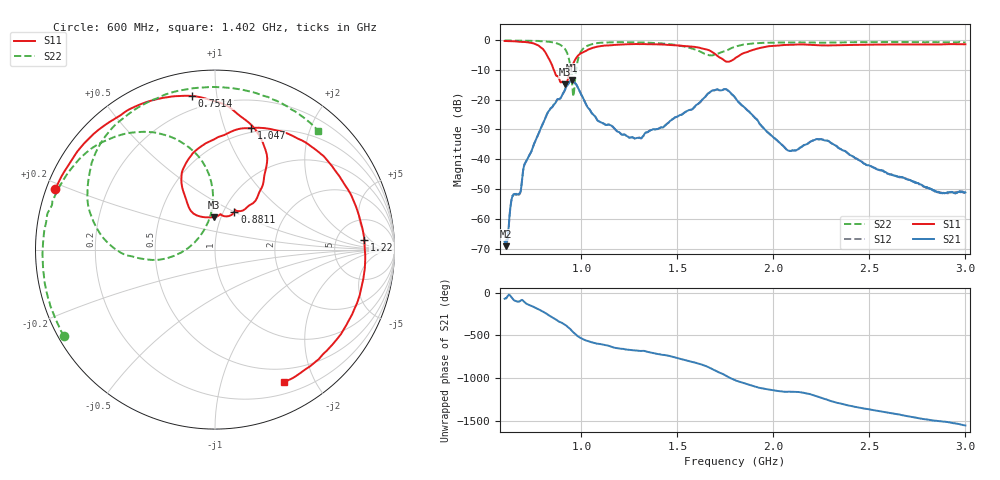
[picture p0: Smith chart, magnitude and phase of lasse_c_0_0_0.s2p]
#  HZ  S  RI  R  50.00
! Rohde & Schwarz ZVB8 2Ports - Version 2.81 - 1145.1010k08 SN: 100113
! Date: 2016-05-04 02:48:57
! Measurements: S11 S21 S12 S22
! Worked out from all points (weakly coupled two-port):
!   1000 points, 600 MHz to 3 GHz, reference 50 ohm
!   highest |S21| = -13.45 dB at 950.8 MHz (marker M1); lowest = -69.0 dB at 607.2 MHz (marker M2)
!   lowest |S11| = -14.9 dB at 912.3 MHz (marker M3), VSWR 1.44, Z = 46.3 + j17.3 ohm
!   |S11| at or under -10 dB: 855.6 MHz to 942.9 MHz (87.28 MHz wide, 9.71 % of centre)
!   |S22| runs from -19.0 to -0.3 dB; largest |S21 - S12| = 0.0019
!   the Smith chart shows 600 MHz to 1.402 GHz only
!   S11 on the Smith chart (normalised r, x): 600 MHz: 0.03, +0.18; 751.4 MHz: 0.13, +0.85; 881.1 MHz: 1.13, +0.50; 1.047 GHz: 0.46, +1.23; 1.22 GHz: 10, +3; 1.402 GHz: 0.33, -1.60
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6e8  -0.8889 0.3377  0.000125 -0.000404  0.000117 -0.000368  -0.8412 -0.4841
6.072072e8  -0.8712 0.376  0.000158 -0.000317  0.000135 -0.000343  -0.8547 -0.4587
6.408408e8  -0.7736 0.537  0.000786 -0.00232  0.000857 -0.0023  -0.9076 -0.3375
7.513514e8  -0.1269 0.8557  -0.0171 -0.00351  -0.0169 -0.00365  -0.9523 0.0954
8.138138e8  0.2884 0.5307  -0.0247 0.0442  -0.0249 0.0441  -0.8613 0.36
8.810811e8  0.1083 0.2093  0.0946 0.0372  0.0942 0.0376  -0.5728 0.6232
9.123123e8  -0.00558 0.1803  0.1372 -0.0317  0.137 -0.0308  -0.3039 0.6453
9.507508e8  -0.1731 0.3143  0.00419 -0.2125  0.00554 -0.2122  -0.0222 0.2001
1.001201e9  -0.0388 0.5987  -0.1175 -0.0043  -0.1174 -0.00505  -0.6513 0.1066
1.046847e9  0.1995 0.6765  -0.0512 0.0397  -0.0512 0.0395  -0.6955 0.4428
1.21982e9  0.8322 0.0534  0.0132 0.0224  0.013 0.0226  -0.1114 0.9
1.4e9  0.3952 -0.7336  0.0325 6.18e-06  0.0324 0.000162  0.5671 0.6699
1.402402e9  0.3847 -0.7384  0.0327 -0.000334  0.0326 -0.000296  0.574 0.6622
1.621021e9  -0.5045 -0.5178  -0.0443 -0.0809  -0.0436 -0.0808  0.6237 -0.0748
1.801201e9  -0.4267 -0.2459  0.065 0.0849  0.0643 0.0851  0.7147 -0.2718
1.983784e9  -0.7472 0.2151  0.014 -0.0218  0.014 -0.0217  0.3166 -0.8321
2.082282e9  -0.5713 0.5871  0.00226 -0.0137  0.00238 -0.0137  -0.0103 -0.8973
2.2e9  -0.1285 0.8059  -0.00871 -0.0183  -0.0086 -0.0184  -0.3636 -0.8189
2.377778e9  0.5238 0.6204  -0.00772 0.011  -0.00794 0.0109  -0.7278 -0.5361
2.601201e9  0.7895 -0.2588  0.00485 0.003  0.0048 0.00309  -0.9116 -0.0365
2.800601e9  0.2072 -0.8032  0.00243 -0.00245  0.0024 -0.00236  -0.8134 0.4061
3e9  -0.4993 -0.6732  -0.0012 -0.00252  -0.00114 -0.00255  -0.5161 0.7369
